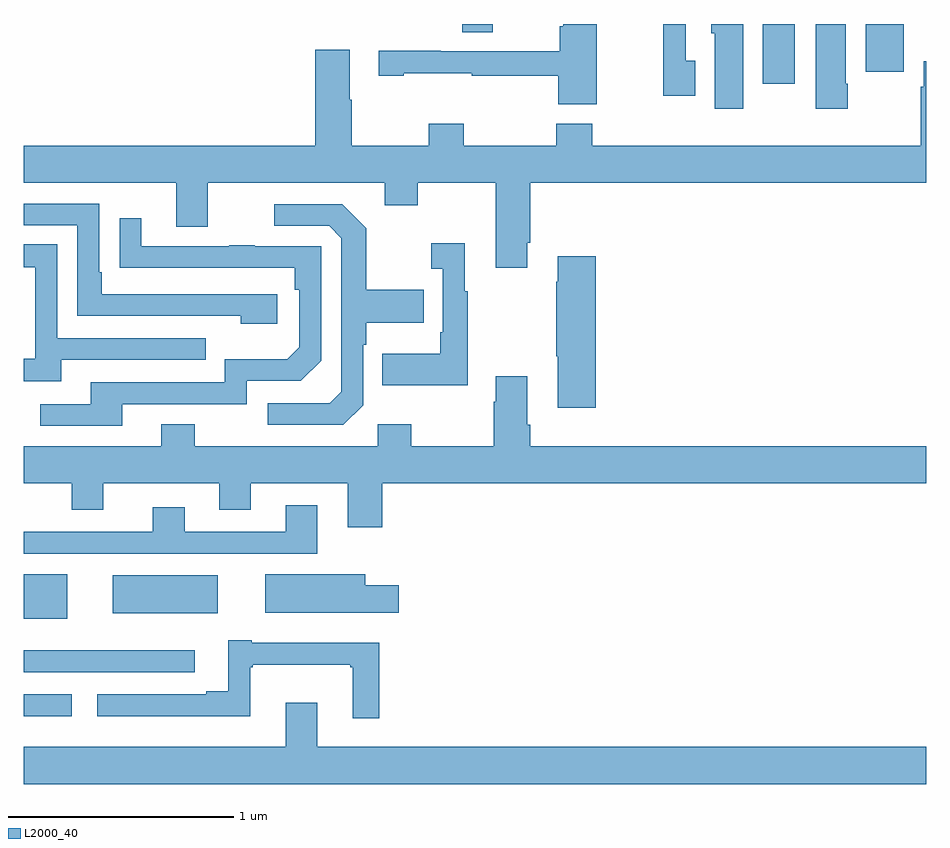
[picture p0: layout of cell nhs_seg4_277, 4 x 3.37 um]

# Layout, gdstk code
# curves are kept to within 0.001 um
import gdstk
lib = gdstk.Library(unit=1e-6, precision=1e-09)
def R(c, l, rs):  # rectangles x0, y0, x1, y1
    for r in rs: c.add(gdstk.rectangle(r[:2], r[2:], *l))
def P(c, l, *ps):  # polygons
    for p in ps: c.add(gdstk.Polygon(p, *l))
L2000_40 = (2000, 40)

nhs_seg4_277 = lib.new_cell('nhs_seg4_277')
R(nhs_seg4_277, L2000_40, [(125,751.832,125.212,751.929), (125,752.028,125.758,752.125), (125,752.264,125.194,752.461), (125.394,752.288,125.86,752.458), (128.276,754.635,128.416,754.9), (128.732,754.689,128.899,754.9), (126.944,754.864,127.078,754.9), (126.042,754.898,126.154,754.9)])
P(nhs_seg4_277, L2000_40, [(128.188,754.9),(128.048,754.9),(128.048,754.86),(128.063,754.86),(128.063,754.524),(128.188,754.524)],
  [(127.975,754.737),(127.935,754.737),(127.935,754.9),(127.834,754.9),(127.834,754.581),(127.975,754.581)],
  [(128.652,754.636),(128.644,754.636),(128.644,754.9),(128.51,754.9),(128.51,754.524),(128.652,754.524)],
  [(127.54,754.9),(127.392,754.9),(127.392,754.89),(127.375,754.89),(127.375,754.78),(127.182,754.78),(127.182,754.779),(126.848,754.779),(126.848,754.781),(126.573,754.781),(126.573,754.671),(126.685,754.671),(126.685,754.681),(126.986,754.681),(126.986,754.671),(127.37,754.671),(127.37,754.544),(127.54,754.544)],
  [(127.231,753.931),(127.244,753.931),(127.244,754.196),(129,754.196),(129,754.735),(128.988,754.735),(128.988,754.622),(128.976,754.622),(128.976,754.36),(127.52,754.36),(127.52,754.459),(127.36,754.459),(127.36,754.36),(126.951,754.36),(126.951,754.459),(126.796,754.459),(126.796,754.36),(126.453,754.36),(126.453,754.565),(126.445,754.565),(126.445,754.786),(126.293,754.786),(126.293,754.36),(125,754.36),(125,754.196),(125.675,754.196),(125.675,754.002),(125.815,754.002),(125.815,754.196),(126.599,754.196),(126.599,754.097),(126.747,754.097),(126.747,754.196),(127.091,754.196),(127.091,753.819),(127.231,753.819)],
  [(126.124,753.702),(125.347,753.702),(125.347,753.799),(125.334,753.799),(125.334,754.104),(125,754.104),(125,754.008),(125.238,754.008),(125.238,753.606),(125.963,753.606),(125.963,753.572),(126.124,753.572)],
  [(126.504,753.21),(126.504,753.479),(126.517,753.479),(126.517,753.575),(126.773,753.575),(126.773,753.723),(126.517,753.723),(126.517,753.995),(126.411,754.101),(126.111,754.101),(126.111,754.005),(126.354,754.005),(126.408,753.951),(126.408,753.27),(126.357,753.219),(126.081,753.219),(126.081,753.123),(126.417,753.123)],
  [(125.437,753.216),(125.988,753.216),(125.988,753.318),(126.228,753.318),(126.318,753.408),(126.318,753.915),(126.023,753.915),(126.023,753.92),(125.911,753.92),(125.911,753.915),(125.521,753.915),(125.521,754.039),(125.425,754.039),(125.425,753.82),(126.202,753.819),(126.202,753.722),(126.222,753.722),(126.222,753.468),(126.169,753.415),(125.892,753.415),(125.892,753.312),(125.297,753.312),(125.297,753.216),(125.073,753.216),(125.073,753.12),(125.437,753.12)],
  [(126.967,753.715),(126.955,753.715),(126.955,753.928),(126.807,753.928),(126.807,753.815),(126.858,753.815),(126.858,753.535),(126.846,753.535),(126.846,753.439),(126.589,753.439),(126.589,753.299),(126.967,753.299)],
  [(125.167,753.411),(125.807,753.411),(125.807,753.507),(125.148,753.507),(125.148,753.923),(125,753.923),(125,753.822),(125.052,753.822),(125.052,753.417),(125,753.417),(125,753.317),(125.167,753.317)],
  [(127.535,753.871),(127.367,753.871),(127.367,753.758),(127.36,753.758),(127.36,753.427),(127.367,753.427),(127.367,753.2),(127.535,753.2)],
  [(126.59,752.864),(129,752.864),(129,753.028),(127.244,753.028),(127.244,753.124),(127.231,753.124),(127.231,753.34),(127.091,753.34),(127.091,753.227),(127.084,753.227),(127.084,753.028),(126.717,753.028),(126.717,753.127),(126.57,753.127),(126.57,753.028),(125.757,753.028),(125.757,753.127),(125.609,753.127),(125.609,753.028),(125,753.028),(125,752.864),(125.213,752.864),(125.213,752.747),(125.353,752.747),(125.353,752.864),(125.867,752.864),(125.867,752.747),(126.007,752.747),(126.007,752.864),(126.437,752.864),(126.437,752.67),(126.59,752.67)],
  [(126.301,752.767),(126.161,752.767),(126.161,752.649),(125.713,752.649),(125.713,752.758),(125.573,752.758),(125.573,752.649),(125,752.649),(125,752.553),(126.301,752.553)],
  [(126.661,752.413),(126.514,752.413),(126.514,752.461),(126.071,752.461),(126.071,752.291),(126.661,752.291)],
  [(126.575,752.158),(126.01,752.158),(126.01,752.17),(125.906,752.17),(125.906,751.942),(125.81,751.942),(125.81,751.929),(125.325,751.929),(125.325,751.832),(126.004,751.832),(126.004,752.049),(126.016,752.049),(126.016,752.06),(126.447,752.06),(126.447,752.049),(126.458,752.049),(126.458,751.824),(126.575,751.824)],
  [(129,751.696),(126.301,751.696),(126.301,751.891),(126.161,751.891),(126.161,751.696),(125,751.696),(125,751.532),(129,751.532)])

lib.write_gds('nhs_seg4_277.gds')
